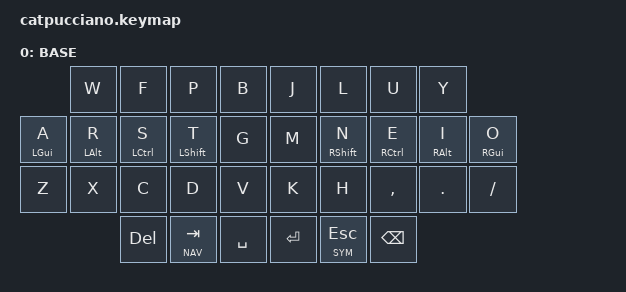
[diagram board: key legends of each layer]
//
//                                                        ▀▀▀▀▀     ▀▀▀▀▀          ▀▀█▀▀
//                                                        ▄▀▀▀▄  ▄  ▄▀▀▀▄  ▄  ▄▀▀▀▄  █  ▄▀▀▀▄
//                                                        █   █  █  █   █  █  █   █  █  █   █
//                                                         ▀▀▀   █   ▀▀▀   █   ▀▀▀   ▀   ▀▀▀
//                                                               █      ▄▄▄█▄▄▄    █   █  
//                                                               ▀      █  █  █     █▄█
//                                                             ▀▀▀▀▀    █  █  █      ▀
//                                                                      ▀  ▀  ▀
//
// ▄▄▄▄▄▄▄▄▄▄▄▄▄▄▄▄▄▄▄▄▄▄▄▄▄▄▄▄▄▄▄▄▄▄▄▄▄▄▄▄▄▄▄▄▄▄▄▄▄▄▄▄▄▄▄▄▄▄▄▄▄▄▄▄▄▄▄▄▄▄▄▄▄▄▄▄▄▄▄▄▄▄▄▄▄▄▄▄▄▄▄▄▄▄▄▄▄▄▄▄▄▄▄▄▄▄▄▄▄▄▄▄▄▄▄▄▄▄▄▄▄▄▄▄▄▄▄▄▄▄▄▄▄▄▄▄▄▄▄▄▄▄▄▄▄▄▄▄▄
       

#include <behaviors.dtsi>
#include <dt-bindings/zmk/keys.h>
#include <dt-bindings/zmk/bt.h>
#include <dt-bindings/zmk/outputs.h>

#define BASE 0
#define NAV  1
#define SYM  2
#define ADJ  3
#define TVP1 4
#define TVP2 5

&mt {
  quick-tap-ms = <100>;
  global-quick-tap;
  flavor = "tap-preferred";
  tapping-term-ms = <170>;
};

/ {
     combos {
            compatible = "zmk,combos";
            combo_esc {
                timeout-ms = <50>;
                key-positions = <0 1>;
                bindings = <&kp ESC>;
            };
            combo_tvp {
                timeout-ms = <100>;
                key-positions = <11 12 13>;
                bindings = <&tog TVP1>;
            };
    };

    macros {
        gif: gif {
            label = "giphy";
            compatible = "zmk,behavior-macro";
            #binding-cells = <0>;
            bindings
                = <&macro_press &kp LSHFT>
                , <&macro_tap &kp N2>
                , <&macro_release &kp LSHFT>
                , <&macro_tap &kp G &kp I &kp F>
                ;
        };
    };

        keymap {
                compatible = "zmk,keymap";
// ▄▄▄▄▄▄▄▄▄▄▄▄▄▄▄▄▄▄▄▄▄▄▄▄▄▄▄▄▄▄▄▄▄▄▄▄▄▄▄▄▄▄▄▄▄▄▄▄▄▄▄▄▄▄▄▄▄▄▄▄▄▄▄▄▄▄▄▄▄▄▄▄▄▄▄▄▄▄▄▄▄▄▄▄▄▄▄▄▄▄▄▄▄▄▄▄▄▄▄▄▄▄▄▄▄▄▄▄▄▄▄▄▄▄▄▄▄▄▄▄▄▄▄▄▄▄▄▄▄▄▄▄▄▄▄▄▄▄▄▄▄▄▄▄▄▄▄▄▄

                base_layer {
// ┏━━━━━━━━━━━━━━━━━━━━━━━━━━━━━━━━━━━━━━━┓
label= "BASE"                              ;
// ┗━━━━━━━━━━━━━━━━━━━━━━━━━━━━━━━━━━━━━━━┛
//             ┏━━━━━━━━━━━┳━━━━━━━━━━━┳━━━━━━━━━━━┳━━━━━━━━━━━┳━━━━━━━━━━━┓   ┏━━━━━━━━━━━┳━━━━━━━━━━━┳━━━━━━━━━━━┳━━━━━━━━━━━┳━━━━━━━━━━━┓
//             ┃     Q     ┃     W     ┃     F     ┃     P     ┃     G     ┃   ┃     J     ┃     L     ┃     U     ┃     Y     ┃     ;     ┃
//             ┣━━━━━━━━━━━╋━━━━━━━━━━━╋━━━━━━━━━━━╋━━━━━━━━━━━╋━━━━━━━━━━━┫   ┣━━━━━━━━━━━╋━━━━━━━━━━━╋━━━━━━━━━━━╋━━━━━━━━━━━╋━━━━━━━━━━━┫
//             ┃     A     ┃     R     ┃     S     ┃     T     ┃     D     ┃   ┃     H     ┃     N     ┃     E     ┃     I     ┃     O     ┃
// ┏━━━━━━━━━━━╋━━━━━━━━━━━╋━━━━━━━━━━━╋━━━━━━━━━━━╋━━━━━━━━━━━╋━━━━━━━━━━━┫   ┣━━━━━━━━━━━╋━━━━━━━━━━━╋━━━━━━━━━━━╋━━━━━━━━━━━╋━━━━━━━━━━━╋━━━━━━━━━━━┓
// ┃     Q     ┃     Z     ┃     X     ┃     C     ┃     V     ┃     B     ┃   ┃     K     ┃     M     ┃     ,     ┃     .     ┃     /     ┃     \     ┃
// ┗━━━━━━━━━━━┻━━━━━━━━━━━┻━━━━━━━━━━━╋━━━━━━━━━━━╋━━━━━━━━━━━╋━━━━━━━━━━━┫   ┣━━━━━━━━━━━╋━━━━━━━━━━━╋━━━━━━━━━━━╋━━━━━━━━━━━┻━━━━━━━━━━━┻━━━━━━━━━━━┛
//                                     ┃    DEL    ┃    TAB    ┃    SPC    ┃   ┃   ENTER   ┃           ┃   BSPC    ┃
//                                     ┗━━━━━━━━━━━┻━━━━━━━━━━━┻━━━━━━━━━━━┛   ┗━━━━━━━━━━━┻━━━━━━━━━━━┻━━━━━━━━━━━┛
 bindings = <
//              ╷           ╷           ╷           ╷           ╷           ╷   ╷           ╷           ╷           ╷           ╷           ╷          

                            &kp W       &kp F       &kp P       &kp B           &kp J       &kp L       &kp U       &kp Y       
                &mt LGUI A  &mt LALT R  &mt LCTRL S &mt LSHFT T &kp G           &kp M       &mt RSHFT N &mt RCTRL E &mt RALT I  &mt RGUI O
                &kp Z       &kp X       &kp C       &kp D       &kp V           &kp K       &kp H       &kp COMMA   &kp DOT     &kp FSLH    
                                        &kp DEL   &lt NAV TAB   &kp SPACE       &kp RET   &lt SYM ESC   &kp BSPC
                        >;
                };
       };
};
